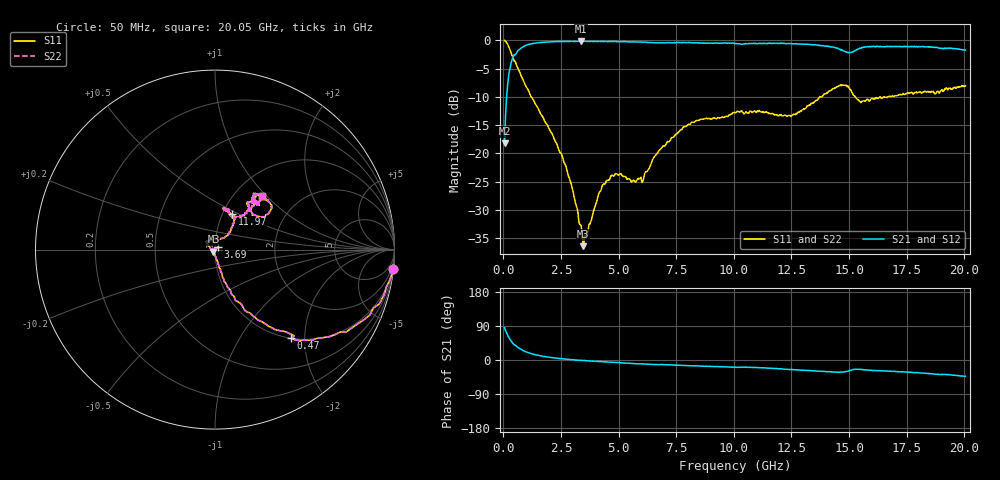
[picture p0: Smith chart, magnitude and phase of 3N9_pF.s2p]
! 500R07S3R9BV4
! Data taken April 11, 2003
! Data taken on a HP 8720C VNA using a series-through test fixture and TRL* de-embedding
#	mhz	s	ma	r	50
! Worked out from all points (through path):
!   1001 points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, 50 MHz to 20.05 GHz, reference 50 ohm
!   highest |S21| = -0.11 dB at 3.35 GHz (marker M1); lowest = -18.2 dB at 50 MHz (marker M2)
!   group delay of S21, straight-line fit = 8.16 ps
!   lowest |S11| = -36.4 dB at 3.45 GHz (marker M3), VSWR 1.03, Z = 49.1 - j1.19 ohm
!   |S11| at or under -10 dB: 1.204 GHz to 13.73 GHz (12.52 GHz wide, 168 % of centre); 15.27 GHz to 16.34 GHz (1.067 GHz wide, 6.75 % of centre); 16.36 GHz to 16.52 GHz (161.2 MHz wide, 0.981 % of centre)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
!   |S22| runs from -36.4 to 0.0 dB; largest |S21 - S12| = 0
!   S11 on the Smith chart (normalised r, x): 50 MHz: 0, -18; 470 MHz: 1.00, -1.72; 3.69 GHz: 1.04, +0.03; 11.97 GHz: 1.11, +0.46; 20.05 GHz: 1.33, +0.94
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50  1 -6.3  0.123 85.5  0.123 85.5  1 -6.3
230  0.8829 -29.2  0.4929 60.1  0.4929 60.1  0.8829 -29.2
470  0.652 -49.3  0.7496 39.8  0.7496 39.8  0.652 -49.3
850  0.4476 -59.2  0.8753 25.0  0.8753 25.0  0.4476 -59.2
1250  0.308 -67.6  0.9382 16.2  0.9382 16.2  0.308 -67.6
2610  0.08518 -77.1  0.9787 2.8  0.9787 2.8  0.08518 -77.1
3350  0.02335 -111.9  0.9876 -1.0  0.9876 -1.0  0.02335 -111.9
3390  0.02154 -110.6  0.9831 -1.0  0.9831 -1.0  0.02154 -110.6
3450  0.01508 -126.4  0.9843 -1.2  0.9843 -1.2  0.01508 -126.4
3690  0.02188 35.2  0.9805 -2.4  0.9805 -2.4  0.02188 35.2
4390  0.0533 144.4  0.977 -4.8  0.977 -4.8  0.0533 144.4
4950  0.06498 135.1  0.9749 -7.0  0.9749 -7.0  0.06498 135.1
6010  0.0555 73.7  0.9699 -10.3  0.9699 -10.3  0.0555 73.7
6730  0.1044 49.2  0.9512 -12.2  0.9512 -12.2  0.1044 49.2
8110  0.1822 54.9  0.9537 -15.2  0.9537 -15.2  0.1822 54.9
10050  0.229 71.8  0.9418 -18.7  0.9418 -18.7  0.229 71.8
11970  0.218 64.5  0.94 -22.9  0.94 -22.9  0.218 64.5
13390  0.2773 50.4  0.9165 -28.2  0.9165 -28.2  0.2773 50.4
14690  0.4045 42.7  0.8259 -31.9  0.8259 -31.9  0.4045 42.7
15490  0.2841 42.8  0.8517 -24.7  0.8517 -24.7  0.2841 42.8
16730  0.3189 55.5  0.8883 -29.4  0.8883 -29.4  0.3189 55.5
20050  0.3967 48.5  0.8221 -42.9  0.8221 -42.9  0.3967 48.5
